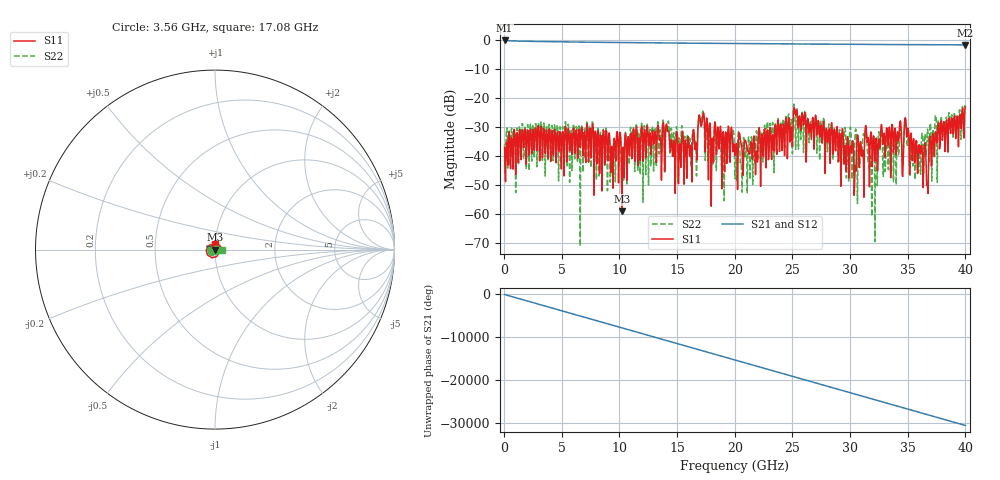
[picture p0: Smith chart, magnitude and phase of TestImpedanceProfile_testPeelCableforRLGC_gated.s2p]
# MHz MA S R 50.0
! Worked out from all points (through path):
!   1000 points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, 40 MHz to 40 GHz, reference 50 ohm
!   highest |S21| = -0.03 dB at 40 MHz (marker M1); lowest = -1.6 dB at 40 GHz (marker M2)
!   lowest |S11| = -59.1 dB at 10.2 GHz (marker M3), VSWR 1.00, Z = 49.9 - j0.049 ohm
!   |S11| at or under -10 dB: start of sweep to end of sweep
!   |S22| runs from -71.2 to -22.0 dB; largest |S21 - S12| = 0.002
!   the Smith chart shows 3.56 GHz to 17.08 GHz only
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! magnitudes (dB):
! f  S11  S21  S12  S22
! 40 MHz  -37.1  0.0  0.0  -36.0
! 6.72 GHz  -30.1  -0.6  -0.6  -29.2
! 10.2 GHz  -59.1  -0.8  -0.7  -47.1
! 13.36 GHz  -29.3  -0.9  -0.9  -29.4
! 15.76 GHz  -36.2  -1.0  -1.0  -40.3
! 16.6 GHz  -36.5  -1.0  -1.0  -35.3
! 17.12 GHz  -29.5  -1.0  -1.0  -27.1
! 17.88 GHz  -30.2  -1.0  -1.0  -34.1
! 20.04 GHz  -39.9  -1.1  -1.1  -48.0
! 25.28 GHz  -25.9  -1.2  -1.2  -37.7
! 26.68 GHz  -31.2  -1.3  -1.3  -31.1
! 30.32 GHz  -41.2  -1.4  -1.4  -41.5
! 30.8 GHz  -43.9  -1.4  -1.4  -42.8
! 31.28 GHz  -32.2  -1.4  -1.4  -34.1
! 31.72 GHz  -39.3  -1.4  -1.4  -44.0
! 32.6 GHz  -36.7  -1.4  -1.4  -37.9
! 33.36 GHz  -31.3  -1.4  -1.4  -37.5
! 34.88 GHz  -30.4  -1.5  -1.5  -31.5
! 35.36 GHz  -37.6  -1.5  -1.5  -36.6
! 36.56 GHz  -39.0  -1.5  -1.5  -35.8
! 37.76 GHz  -37.5  -1.5  -1.5  -34.2
! 40 GHz  -23.0  -1.6  -1.6  -22.4
